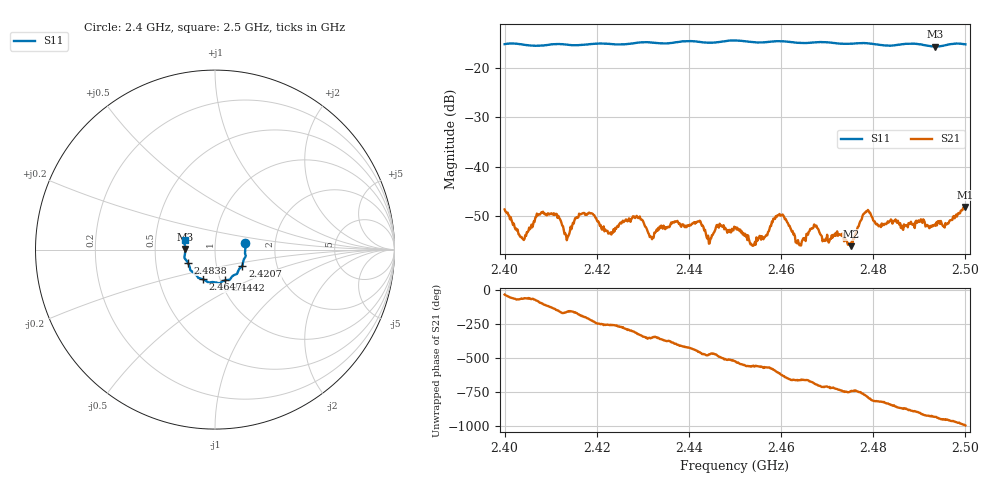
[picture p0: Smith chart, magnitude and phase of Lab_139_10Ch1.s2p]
# Hz S RI R 50
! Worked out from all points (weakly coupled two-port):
!   601 points, 2.4 GHz to 2.5 GHz, reference 50 ohm
!   highest |S21| = -48.07 dB at 2.5 GHz (marker M1); lowest = -56.0 dB at 2.4752 GHz (marker M2)
!   lowest |S11| = -15.7 dB at 2.4935 GHz (marker M3), VSWR 1.39, Z = 35.9 + j0.125 ohm
!   |S11| at or under -10 dB: start of sweep to end of sweep
!   S12 and S22 are empty: the file has one direction only
!   S11 on the Smith chart (normalised r, x): 2.4 GHz: 1.40, +0.11; 2.4207 GHz: 1.33, -0.24; 2.4442 GHz: 1.06, -0.37; 2.4647 GHz: 0.83, -0.28; 2.4838 GHz: 0.73, -0.11; 2.5 GHz: 0.71, +0.08
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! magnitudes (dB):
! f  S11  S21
! 2.4 GHz  -15.2  -48.6
! 2.4038 GHz  -15.2  -54.4
! 2.4078 GHz  -15.5  -49.4
! 2.4115 GHz  -15.2  -50.3
! 2.4135 GHz  -15.3  -54.8
! 2.4167 GHz  -15.3  -49.5
! 2.4207 GHz  -15.1  -51.9
! 2.4283 GHz  -15.0  -50.3
! 2.4333 GHz  -15.0  -52.3
! 2.442 GHz  -14.7  -51.0
! 2.4442 GHz  -14.9  -53.9
! 2.45 GHz  -14.4  -52.2
! 2.454 GHz  -14.8  -55.8
! 2.46 GHz  -14.6  -49.8
! 2.4647 GHz  -15.0  -54.7
! 2.4667 GHz  -14.9  -52.4
! 2.4752 GHz  -15.1  -56.0
! 2.4785 GHz  -15.0  -48.9
! 2.4833 GHz  -15.5  -51.2
! 2.4838 GHz  -15.5  -50.6
! 2.4935 GHz  -15.7  -51.9
! 2.5 GHz  -15.2  -48.1
